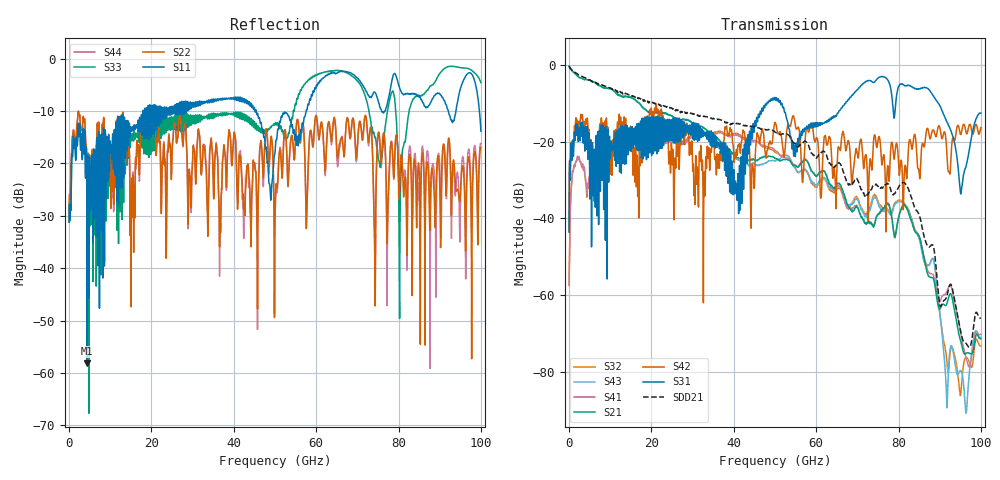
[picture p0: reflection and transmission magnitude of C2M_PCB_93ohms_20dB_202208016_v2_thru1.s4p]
! Info: Touchstone file created by Circ.  Input file=Intel_C2M_200G_7p0in_202208016_staggered.circ
# Hz S RI R 50
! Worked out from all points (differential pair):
!   10000 points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, 10 MHz to 100 GHz, reference 50 ohm
!   strongest paths, dB at 10 MHz, 25.01 GHz, 50.01 GHz, 75.01 GHz, 100 GHz:
!     S31: -43.5, -16.7, -8.5, -3.4, -12.5
!     S42: -43.5, -25.5, -14.9, -19.8, -16.3
!     S21: -0.2, -13.2, -24.4, -38.8, -71.5
!     S41: -57.5, -20.1, -22.2, -38.8, -70.2
!     S43: -0.2, -13.2, -25.0, -35.9, -71.0
!     S32: -57.5, -19.8, -22.7, -35.4, -73.3
!   taken as a pair (ports 1,3 in; 2,4 out), SDD21 dB: -0.2, -11.3, -17.5, -31.5, -65.9
!   lowest |S11| = -58.1 dB at 4.41 GHz (marker M1), VSWR 1.00, Z = 50.1 - j0.00327 ohm
!   |S11| at or under -10 dB: start of sweep to 17.95 GHz; 45.44 GHz to 57.53 GHz (12.09 GHz wide, 23.5 % of centre); 92.09 GHz to 93.95 GHz (1.853 GHz wide, 1.99 % of centre)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
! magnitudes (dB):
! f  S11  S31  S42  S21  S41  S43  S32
! 10 MHz  -31.2  -43.5  -43.5  -0.2  -57.5  -0.2  -57.5
! 4.41 GHz  -58.1  -15.9  -13.8  -3.8  -32.2  -3.8  -32.8
! 45.35 GHz  -9.8  -15.8  -21.1  -24.9  -19.7  -26.0  -19.7
! 78.55 GHz  -3.6  -9.8  -20.8  -41.2  -41.1  -38.2  -37.7
! 80.36 GHz  -5.9  -4.9  -26.8  -38.3  -38.6  -35.6  -35.3
! 91.66 GHz  -9.0  -14.6  -21.5  -62.4  -59.2  -86.5  -76.4
! 100 GHz  -13.8  -12.5  -16.3  -71.5  -70.2  -71.0  -73.3
